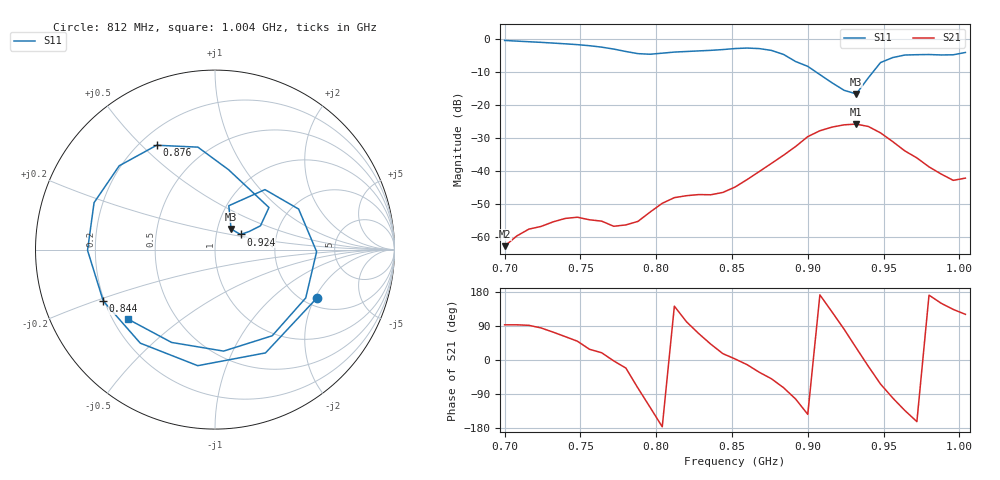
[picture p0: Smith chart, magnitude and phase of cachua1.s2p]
# Hz S RI R 50
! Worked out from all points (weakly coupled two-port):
!   39 points, 700 MHz to 1.004 GHz, reference 50 ohm
!   highest |S21| = -25.89 dB at 932 MHz (marker M1); lowest = -62.9 dB at 700 MHz (marker M2)
!   lowest |S11| = -16.7 dB at 932 MHz (marker M3), VSWR 1.34, Z = 58.1 + j13.6 ohm
!   |S11| at or under -10 dB: 905.2 MHz to 943.2 MHz (37.97 MHz wide, 4.11 % of centre)
!   S12 and S22 are empty: the file has one direction only
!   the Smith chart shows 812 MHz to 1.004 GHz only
!   S11 on the Smith chart (normalised r, x): 812 MHz: 2.31, -2.07; 844 MHz: 0.20, -0.21; 876 MHz: 0.27, +0.56; 924 MHz: 1.31, +0.23; 1.004 GHz: 0.26, -0.33
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7e8  0.7606 0.5556  -3.54e-05 0.000714  0 0  0 0
7.24e8  0.8468 -0.2454  0.000132 0.00142  0 0  0 0
7.4e8  0.4545 -0.7035  0.000894 0.00166  0 0  0 0
7.56e8  -0.1923 -0.7599  0.00158 0.000852  0 0  0 0
7.72e8  -0.6657 -0.207  0.00143 -6.02e-05  0 0  0 0
7.8e8  -0.6 0.2233  0.0014 -0.000546  0 0  0 0
7.88e8  -0.2585 0.5352  0.000459 -0.00164  0 0  0 0
7.96e8  0.2337 0.5333  -0.00135 -0.00193  0 0  0 0
8.04e8  0.5744 0.1878  -0.00319 -0.000208  0 0  0 0
8.12e8  0.566 -0.2714  -0.00307 0.0024  0 0  0 0
8.28e8  -0.0962 -0.6468  0.00148 0.00407  0 0  0 0
8.44e8  -0.623 -0.2855  0.00447 0.00134  0 0  0 0
8.52e8  -0.7102 -0.00372  0.00562 0.000281  0 0  0 0
8.76e8  -0.3248 0.5814  0.00836 -0.00976  0 0  0 0
9e8  0.3006 0.2346  -0.0264 -0.0195  0 0  0 0
9.08e8  0.2533 0.1326  -0.0399 0.00566  0 0  0 0
9.24e8  0.1421 0.0842  0.00763 0.0489  0 0  0 0
9.32e8  0.0896 0.1148  0.0431 0.0267  0 0  0 0
9.56e8  0.466 0.2258  -0.00479 -0.0272  0 0  0 0
9.64e8  0.5662 -0.0114  -0.0136 -0.0146  0 0  0 0
9.8e8  0.3186 -0.4801  -0.0113 0.00175  0 0  0 0
1.004e9  -0.482 -0.3888  -0.00391 0.00663  0 0  0 0
